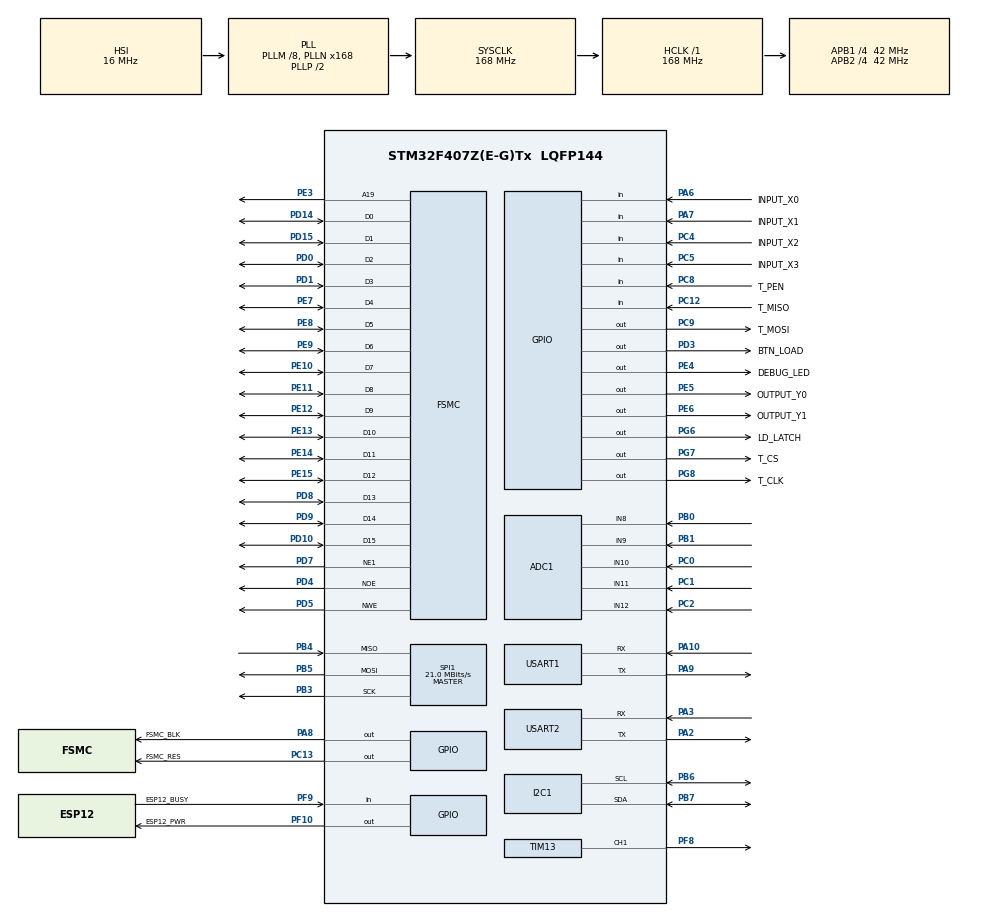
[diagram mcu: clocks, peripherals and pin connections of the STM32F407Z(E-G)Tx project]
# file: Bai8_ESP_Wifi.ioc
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ADC1.Channel-0\#ChannelRegularConversion=ADC_CHANNEL_8
ADC1.Channel-1\#ChannelRegularConversion=ADC_CHANNEL_9
ADC1.Channel-2\#ChannelRegularConversion=ADC_CHANNEL_10
ADC1.Channel-3\#ChannelRegularConversion=ADC_CHANNEL_11
ADC1.Channel-4\#ChannelRegularConversion=ADC_CHANNEL_12
ADC1.NbrOfConversion=5
ADC1.NbrOfConversionFlag=1
ADC1.Rank-0\#ChannelRegularConversion=1
ADC1.Rank-1\#ChannelRegularConversion=2
ADC1.Rank-2\#ChannelRegularConversion=3
ADC1.Rank-3\#ChannelRegularConversion=4
ADC1.Rank-4\#ChannelRegularConversion=5
ADC1.SamplingTime-0\#ChannelRegularConversion=ADC_SAMPLETIME_3CYCLES
ADC1.SamplingTime-1\#ChannelRegularConversion=ADC_SAMPLETIME_3CYCLES
ADC1.SamplingTime-2\#ChannelRegularConversion=ADC_SAMPLETIME_3CYCLES
ADC1.SamplingTime-3\#ChannelRegularConversion=ADC_SAMPLETIME_3CYCLES
ADC1.SamplingTime-4\#ChannelRegularConversion=ADC_SAMPLETIME_3CYCLES
ADC1.ScanConvMode=ENABLE
ADC1.master=1
Dma.ADC1.0.Direction=DMA_PERIPH_TO_MEMORY
Dma.ADC1.0.FIFOMode=DMA_FIFOMODE_DISABLE
Dma.ADC1.0.Instance=DMA2_Stream0
Dma.ADC1.0.MemDataAlignment=DMA_MDATAALIGN_HALFWORD
Dma.ADC1.0.MemInc=DMA_MINC_ENABLE
Dma.ADC1.0.Mode=DMA_CIRCULAR
Dma.ADC1.0.PeriphDataAlignment=DMA_PDATAALIGN_HALFWORD
Dma.ADC1.0.PeriphInc=DMA_PINC_DISABLE
Dma.ADC1.0.Priority=DMA_PRIORITY_LOW
Dma.Request0=ADC1
FSMC.AddressSetupTime1=0xf
FSMC.BusTurnAroundDuration1=0
FSMC.DataSetupTime1=60
FSMC.ExtendedAddressSetupTime1=8
FSMC.ExtendedBusTurnAroundDuration1=0
FSMC.ExtendedDataSetupTime1=9
FSMC.ExtendedMode1=FSMC_EXTENDED_MODE_ENABLE
I2C1.I2C_Mode=I2C_Standard
Mcu.Family=STM32F4
Mcu.Name=STM32F407Z(E-G)Tx
Mcu.Package=LQFP144
NVIC.DMA2_Stream0_IRQn=true\:0\:0\:false\:false\:true\:false\:true\:true
NVIC.PriorityGroup=NVIC_PRIORITYGROUP_4
NVIC.TIM2_IRQn=true\:0\:0\:false\:false\:true\:true\:true\:true
NVIC.USART1_IRQn=true\:0\:0\:false\:false\:true\:true\:true\:true
NVIC.USART2_IRQn=true\:0\:0\:false\:false\:true\:true\:true\:true
PA10.Mode=Asynchronous
PA10.Signal=USART1_RX
PA13.Mode=Serial_Wire
PA13.Signal=SYS_JTMS-SWDIO
PA14.Mode=Serial_Wire
PA14.Signal=SYS_JTCK-SWCLK
PA2.Mode=Asynchronous
PA2.Signal=USART2_TX
PA3.Mode=Asynchronous
PA3.Signal=USART2_RX
PA6.GPIO_Label=INPUT_X0
PA6.Signal=GPIO_Input
PA7.GPIO_Label=INPUT_X1
PA7.Signal=GPIO_Input
PA8.GPIO_Label=FSMC_BLK
PA8.Signal=GPIO_Output
PA9.Mode=Asynchronous
PA9.Signal=USART1_TX
PB0.Signal=ADCx_IN8
PB1.Signal=ADCx_IN9
PB3.Mode=Full_Duplex_Master
PB3.Signal=SPI1_SCK
PB4.Mode=Full_Duplex_Master
PB4.Signal=SPI1_MISO
PB5.Mode=Full_Duplex_Master
PB5.Signal=SPI1_MOSI
PB6.Mode=I2C
PB6.Signal=I2C1_SCL
PB7.Mode=I2C
PB7.Signal=I2C1_SDA
PC0.Signal=ADCx_IN10
PC1.Signal=ADCx_IN11
PC12.GPIO_Label=T_MISO
PC12.GPIO_PuPd=GPIO_PULLUP
PC12.Signal=GPIO_Input
PC13-ANTI_TAMP.GPIO_Label=FSMC_RES
PC13-ANTI_TAMP.Signal=GPIO_Output
PC2.Signal=ADCx_IN12
PC4.GPIO_Label=INPUT_X2
PC4.Signal=GPIO_Input
PC5.GPIO_Label=INPUT_X3
PC5.Signal=GPIO_Input
PC8.GPIO_Label=T_PEN
PC8.GPIO_PuPd=GPIO_PULLUP
PC8.Signal=GPIO_Input
PC9.GPIO_Label=T_MOSI
PC9.Signal=GPIO_Output
PD0.Signal=FSMC_D2_DA2
PD1.Signal=FSMC_D3_DA3
PD10.Signal=FSMC_D15_DA15
PD14.Signal=FSMC_D0_DA0
PD15.Signal=FSMC_D1_DA1
PD3.GPIO_Label=BTN_LOAD
PD3.Signal=GPIO_Output
PD4.Signal=FSMC_NOE
PD5.Signal=FSMC_NWE
PD7.Mode=NorPsramChipSelect1_1
PD7.Signal=FSMC_NE1
PD8.Signal=FSMC_D13_DA13
PD9.Signal=FSMC_D14_DA14
PE10.Signal=FSMC_D7_DA7
PE11.Signal=FSMC_D8_DA8
PE12.Signal=FSMC_D9_DA9
PE13.Signal=FSMC_D10_DA10
PE14.Signal=FSMC_D11_DA11
PE15.Signal=FSMC_D12_DA12
PE3.Signal=FSMC_A19
PE4.GPIO_Label=DEBUG_LED
PE4.Signal=GPIO_Output
PE5.GPIO_Label=OUTPUT_Y0
PE5.Signal=GPIO_Output
PE6.GPIO_Label=OUTPUT_Y1
PE6.Signal=GPIO_Output
PE7.Signal=FSMC_D4_DA4
PE8.Signal=FSMC_D5_DA5
PE9.Signal=FSMC_D6_DA6
PF10.GPIO_Label=ESP12_PWR
PF10.Signal=GPIO_Output
PF8.Signal=S_TIM13_CH1
PF9.GPIO_Label=ESP12_BUSY
PF9.Signal=GPIO_Input
PG6.GPIO_Label=LD_LATCH
PG6.Signal=GPIO_Output
PG7.GPIO_Label=T_CS
PG7.Signal=GPIO_Output
PG8.GPIO_Label=T_CLK
PG8.Signal=GPIO_Output
PH0-OSC_IN.Mode=HSE-External-Oscillator
PH0-OSC_IN.Signal=RCC_OSC_IN
PH1-OSC_OUT.Mode=HSE-External-Oscillator
PH1-OSC_OUT.Signal=RCC_OSC_OUT
ProjectManager.HeapSize=0x200
ProjectManager.StackSize=0x400
ProjectManager.TargetToolchain=STM32CubeIDE
RCC.48MHZClocksFreq_Value=84000000
RCC.AHBFreq_Value=168000000
RCC.APB1CLKDivider=RCC_HCLK_DIV4
RCC.APB1Freq_Value=42000000
RCC.APB1TimFreq_Value=84000000
RCC.APB2CLKDivider=RCC_HCLK_DIV4
RCC.APB2Freq_Value=42000000
RCC.APB2TimFreq_Value=84000000
RCC.CortexFreq_Value=168000000
RCC.HCLKFreq_Value=168000000
RCC.HSE_VALUE=8000000
RCC.HSI_VALUE=16000000
RCC.LSE_VALUE=32768
RCC.PLLM=8
RCC.PLLN=168
RCC.SYSCLKFreq_VALUE=168000000
RCC.SYSCLKSource=RCC_SYSCLKSOURCE_PLLCLK
RCC.VCOOutputFreq_Value=336000000
SH.ADCx_IN10.0=ADC1_IN10,IN10
SH.ADCx_IN11.0=ADC1_IN11,IN11
SH.ADCx_IN12.0=ADC1_IN12,IN12
SH.ADCx_IN8.0=ADC1_IN8,IN8
SH.ADCx_IN9.0=ADC1_IN9,IN9
SH.FSMC_A19.0=FSMC_A19,A19_1
SH.FSMC_D0_DA0.0=FSMC_D0,16b-d1
SH.FSMC_D10_DA10.0=FSMC_D10,16b-d1
SH.FSMC_D11_DA11.0=FSMC_D11,16b-d1
SH.FSMC_D12_DA12.0=FSMC_D12,16b-d1
SH.FSMC_D13_DA13.0=FSMC_D13,16b-d1
SH.FSMC_D14_DA14.0=FSMC_D14,16b-d1
SH.FSMC_D15_DA15.0=FSMC_D15,16b-d1
SH.FSMC_D1_DA1.0=FSMC_D1,16b-d1
SH.FSMC_D2_DA2.0=FSMC_D2,16b-d1
SH.FSMC_D3_DA3.0=FSMC_D3,16b-d1
SH.FSMC_D4_DA4.0=FSMC_D4,16b-d1
SH.FSMC_D5_DA5.0=FSMC_D5,16b-d1
SH.FSMC_D6_DA6.0=FSMC_D6,16b-d1
SH.FSMC_D7_DA7.0=FSMC_D7,16b-d1
SH.FSMC_D8_DA8.0=FSMC_D8,16b-d1
SH.FSMC_D9_DA9.0=FSMC_D9,16b-d1
SH.FSMC_NOE.0=FSMC_NOE,Lcd1
SH.FSMC_NWE.0=FSMC_NWE,Lcd1
SH.S_TIM13_CH1.0=TIM13_CH1,PWM Generation1 CH1
SPI1.BaudRatePrescaler=SPI_BAUDRATEPRESCALER_2
SPI1.CalculateBaudRate=21.0 MBits/s
SPI1.Direction=SPI_DIRECTION_2LINES
SPI1.Mode=SPI_MODE_MASTER
SPI1.VirtualType=VM_MASTER
TIM1.Prescaler=84-1
TIM13.Channel=TIM_CHANNEL_1
TIM13.Period=100-1
TIM13.Prescaler=840-1
TIM2.Period=100-1
TIM2.Prescaler=840-1
USART1.VirtualMode=VM_ASYNC
USART2.VirtualMode=VM_ASYNC
VP_TIM13_VS_ClockSourceINT.Mode=Enable_Timer
VP_TIM1_VS_ClockSourceINT.Mode=Internal
VP_TIM2_VS_ClockSourceINT.Mode=Internal
board=custom

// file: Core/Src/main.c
/* USER CODE BEGIN Header */
/**
  ******************************************************************************
  * @file           : main.c
  * @brief          : Main program body
  ******************************************************************************
  * @attention
  *
  * <h2><center>&copy; Copyright (c) 2023 STMicroelectronics.
  * All rights reserved.</center></h2>
  *
  * This software component is licensed by ST under BSD 3-Clause license,
  * the "License"; You may not use this file except in compliance with the
  * License. You may obtain a copy of the License at:
  *                        opensource.org/licenses/BSD-3-Clause
  *
  ******************************************************************************
  */
/* USER CODE END Header */
#include "main.h"
#include "adc.h"
#include "dma.h"
#include "i2c.h"
#include "spi.h"
#include "tim.h"
#include "usart.h"
#include "gpio.h"
#include "fsmc.h"

/* USER CODE BEGIN Includes */
#include "software_timer.h"
#include "led_7seg.h"
#include "button.h"
#include "lcd.h"
#include "picture.h"
#include "ds3231.h"
#include "sensor.h"
#include "buzzer.h"
#include "touch.h"
#include "uart.h"
#include "light_control.h"
#include "math.h"
/* USER CODE END Includes */

/* USER CODE BEGIN PM */
#define READ_TEMP_CYCLE 	600 // 30s, because software timer2 cycle is 50ms
#define WAIT_ESP_INIT		0
#define SEND_TEMPERATURE	1

/* USER CODE END PM */

/* USER CODE BEGIN PV */
uint8_t system_status = WAIT_ESP_INIT;
uint8_t temperatureBytesArray[4];
float currentTemperature;
uint8_t temperatureTimerFlag = 0;

/* USER CODE END PV */

void SystemClock_Config(void);
/* USER CODE BEGIN PFP */
void system_init();
void test_LedDebug();
void readTemperature();

/* USER CODE END PFP */

int main(void)
{

  /* MCU Configuration--------------------------------------------------------*/

  /* Reset of all peripherals, Initializes the Flash interface and the Systick. */
  HAL_Init();

  /* Configure the system clock */
  SystemClock_Config();

  /* Initialize all configured peripherals */
  MX_GPIO_Init();
  MX_DMA_Init();
  MX_SPI1_Init();
  MX_FSMC_Init();
  MX_I2C1_Init();
  MX_TIM13_Init();
  MX_TIM2_Init();
  MX_ADC1_Init();
  MX_TIM1_Init();
  MX_USART2_UART_Init();
  MX_USART1_UART_Init();
  /* USER CODE BEGIN 2 */
  system_init();
  /* USER CODE END 2 */

  /* Infinite loop */
  /* USER CODE BEGIN WHILE */
  lcd_Clear(BLACK);
  while (1)
  {
	  // 50ms task
	  if(flag_timer2)
	  {
		  flag_timer2 = 0;
		  test_LedDebug();
		  switch (system_status)
		  {
		  case WAIT_ESP_INIT:
			  if (GPIO_PIN_RESET == HAL_GPIO_ReadPin(ESP12_BUSY_GPIO_Port, ESP12_BUSY_Pin))
			  {
				  system_status = SEND_TEMPERATURE;
			  }
			  break;
		  case SEND_TEMPERATURE:
			  readTemperature();
			  if (temperatureTimerFlag)
			  {
				  temperatureTimerFlag = 0;
				  uint8_t command[30];
				  sprintf(command, "!TEMP:%.2f#", currentTemperature);
				  uart_EspSendBytes(command, strlen(command));
			  }
			  break;
		  }
	  }

    /* USER CODE END WHILE */

  }
}

void SystemClock_Config(void)
{
  RCC_OscInitTypeDef RCC_OscInitStruct = {0};
  RCC_ClkInitTypeDef RCC_ClkInitStruct = {0};

  /** Configure the main internal regulator output voltage
  */
  __HAL_RCC_PWR_CLK_ENABLE();
  __HAL_PWR_VOLTAGESCALING_CONFIG(PWR_REGULATOR_VOLTAGE_SCALE1);

  /** Initializes the RCC Oscillators according to the specified parameters
  * in the RCC_OscInitTypeDef structure.
  */
  RCC_OscInitStruct.OscillatorType = RCC_OSCILLATORTYPE_HSI;
  RCC_OscInitStruct.HSIState = RCC_HSI_ON;
  RCC_OscInitStruct.HSICalibrationValue = RCC_HSICALIBRATION_DEFAULT;
  RCC_OscInitStruct.PLL.PLLState = RCC_PLL_ON;
  RCC_OscInitStruct.PLL.PLLSource = RCC_PLLSOURCE_HSI;
  RCC_OscInitStruct.PLL.PLLM = 8;
  RCC_OscInitStruct.PLL.PLLN = 168;
  RCC_OscInitStruct.PLL.PLLP = RCC_PLLP_DIV2;
  RCC_OscInitStruct.PLL.PLLQ = 4;
  if (HAL_RCC_OscConfig(&RCC_OscInitStruct) != HAL_OK)
  {
    Error_Handler();
  }

  /** Initializes the CPU, AHB and APB buses clocks
  */
  RCC_ClkInitStruct.ClockType = RCC_CLOCKTYPE_HCLK|RCC_CLOCKTYPE_SYSCLK
                              |RCC_CLOCKTYPE_PCLK1|RCC_CLOCKTYPE_PCLK2;
  RCC_ClkInitStruct.SYSCLKSource = RCC_SYSCLKSOURCE_PLLCLK;
  RCC_ClkInitStruct.AHBCLKDivider = RCC_SYSCLK_DIV1;
  RCC_ClkInitStruct.APB1CLKDivider = RCC_HCLK_DIV4;
  RCC_ClkInitStruct.APB2CLKDivider = RCC_HCLK_DIV4;

  if (HAL_RCC_ClockConfig(&RCC_ClkInitStruct, FLASH_LATENCY_5) != HAL_OK)
  {
    Error_Handler();
  }
}

/* USER CODE BEGIN 4 */
void system_init(){
	  timer_init();
	  button_init();
	  sensor_init();
	  lcd_init();
	  uart_init_esp();
	  setTimer2(50);
}

uint8_t count_led_debug = 0;
void test_LedDebug(){
	count_led_debug = (count_led_debug + 1)%20;
	if(count_led_debug == 0){
		HAL_GPIO_TogglePin(DEBUG_LED_GPIO_Port, DEBUG_LED_Pin);
	}
}

uint16_t timer_temperature_cnt = 0;
void readTemperature() {
	timer_temperature_cnt = (timer_temperature_cnt + 1) % READ_TEMP_CYCLE;
	if (timer_temperature_cnt == 0){
		temperatureTimerFlag = 1;
		sensor_Read();
		lcd_ShowStr(10, 180, "Temperature:", RED, BLACK, 16, 0);

		// Send float temperature
		currentTemperature = sensor_GetTemperature();

		lcd_ShowFloatNum(130, 180,currentTemperature, 4, RED, BLACK, 16);
	}
}

/* USER CODE END 4 */

void Error_Handler(void)
{
  __disable_irq();
  while (1)
  {
  }
}
